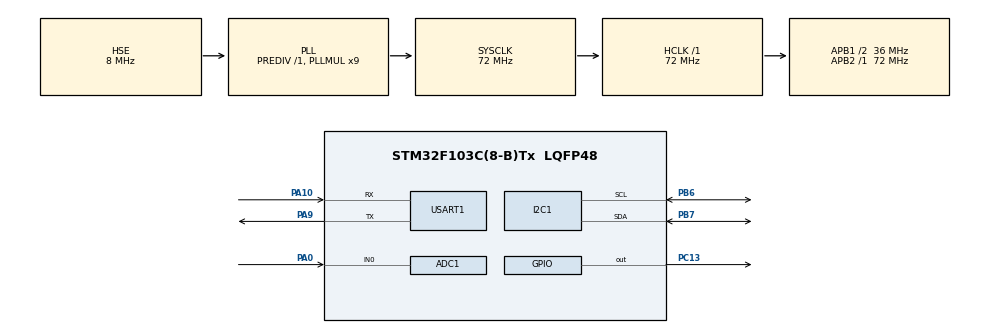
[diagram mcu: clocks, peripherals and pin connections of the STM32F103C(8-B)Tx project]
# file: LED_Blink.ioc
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ADC1.Channel-0\#ChannelRegularConversion=ADC_CHANNEL_0
ADC1.ContinuousConvMode=ENABLE
ADC1.NbrOfConversionFlag=1
ADC1.Rank-0\#ChannelRegularConversion=1
ADC1.SamplingTime-0\#ChannelRegularConversion=ADC_SAMPLETIME_1CYCLE_5
ADC1.master=1
Mcu.Family=STM32F1
Mcu.Name=STM32F103C(8-B)Tx
Mcu.Package=LQFP48
NVIC.PriorityGroup=NVIC_PRIORITYGROUP_4
PA0-WKUP.Signal=ADCx_IN0
PA10.Mode=Asynchronous
PA10.Signal=USART1_RX
PA13.Mode=Serial_Wire
PA13.Signal=SYS_JTMS-SWDIO
PA14.Mode=Serial_Wire
PA14.Signal=SYS_JTCK-SWCLK
PA9.Mode=Asynchronous
PA9.Signal=USART1_TX
PB6.Mode=I2C
PB6.Signal=I2C1_SCL
PB7.Mode=I2C
PB7.Signal=I2C1_SDA
PC13-TAMPER-RTC.Signal=GPIO_Output
PD0-OSC_IN.Mode=HSE-External-Oscillator
PD0-OSC_IN.Signal=RCC_OSC_IN
PD1-OSC_OUT.Mode=HSE-External-Oscillator
PD1-OSC_OUT.Signal=RCC_OSC_OUT
ProjectManager.HeapSize=0x200
ProjectManager.StackSize=0x400
ProjectManager.TargetToolchain=STM32CubeIDE
RCC.AHBFreq_Value=72000000
RCC.APB1CLKDivider=RCC_HCLK_DIV2
RCC.APB1Freq_Value=36000000
RCC.APB1TimFreq_Value=72000000
RCC.APB2Freq_Value=72000000
RCC.APB2TimFreq_Value=72000000
RCC.HCLKFreq_Value=72000000
RCC.PLLMUL=RCC_PLL_MUL9
RCC.PLLSourceVirtual=RCC_PLLSOURCE_HSE
RCC.SYSCLKFreq_VALUE=72000000
RCC.SYSCLKSource=RCC_SYSCLKSOURCE_PLLCLK
RCC.USBFreq_Value=72000000
SH.ADCx_IN0.0=ADC1_IN0,IN0
USART1.VirtualMode=VM_ASYNC
board=custom

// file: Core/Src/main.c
/* USER CODE BEGIN Header */
/**
  ******************************************************************************
  * @file           : main.c
  * @brief          : Main program body
  ******************************************************************************
  * @attention
  *
  * Copyright (c) 2026 STMicroelectronics.
  * All rights reserved.
  *
  * This software is licensed under terms that can be found in the LICENSE file
  * in the root directory of this software component.
  * If no LICENSE file comes with this software, it is provided AS-IS.
  *
  ******************************************************************************
  */
/* USER CODE END Header */
#include "main.h"

/* USER CODE BEGIN Includes */
#include <stdio.h>
#include <string.h>
/* USER CODE END Includes */

ADC_HandleTypeDef hadc1;

I2C_HandleTypeDef hi2c1;

UART_HandleTypeDef huart1;

/* USER CODE BEGIN PV */
uint8_t oled_addr=0x3C;
/* USER CODE END PV */

void SystemClock_Config(void);
static void MX_GPIO_Init(void);
static void MX_I2C1_Init(void);
static void MX_ADC1_Init(void);
static void MX_USART1_UART_Init(void);
/* USER CODE BEGIN PFP */
void OLED_Clear(void);
/* USER CODE END PFP */

/* USER CODE BEGIN 0 */

void OLED_WriteCmd(uint8_t cmd)
{
    HAL_I2C_Mem_Write(&hi2c1, oled_addr << 1, 0x00, 1, &cmd, 1, 100);
}

void OLED_WriteData(uint8_t *data, uint16_t len)
{
    HAL_I2C_Mem_Write(&hi2c1, oled_addr << 1, 0x40, 1, data, len, 100);
}

void OLED_Init(void)
{
    HAL_Delay(100);
    OLED_WriteCmd(0xAE);
    OLED_WriteCmd(0xD5);
    OLED_WriteCmd(0x80);
    OLED_WriteCmd(0xA8);
    OLED_WriteCmd(0x3F);
    OLED_WriteCmd(0xD3);
    OLED_WriteCmd(0x00);
    OLED_WriteCmd(0x40);
    OLED_WriteCmd(0x8D);
    OLED_WriteCmd(0x14);
    OLED_WriteCmd(0x20);
    OLED_WriteCmd(0x00);
    OLED_WriteCmd(0xA1);
    OLED_WriteCmd(0xC8);
    OLED_WriteCmd(0xDA);
    OLED_WriteCmd(0x12);
    OLED_WriteCmd(0x81);
    OLED_WriteCmd(0xCF);
    OLED_WriteCmd(0xD9);
    OLED_WriteCmd(0xF1);
    OLED_WriteCmd(0xDB);
    OLED_WriteCmd(0x40);
    OLED_WriteCmd(0xA4);
    OLED_WriteCmd(0xA6);
    OLED_WriteCmd(0x2E);
    OLED_WriteCmd(0xAF);
}
// 以上驅動
// 清除螢幕（全暗
void OLED_Clear(void)
{
    uint8_t zero[128] = {0};
    for (uint8_t page = 0; page < 8; page++)
    {
        OLED_WriteCmd(0xB0 + page);
        OLED_WriteCmd(0x00);
        OLED_WriteCmd(0x10);
        HAL_I2C_Mem_Write(&hi2c1, oled_addr << 1, 0x40, 1, zero, 128, 100);
    }
}
volatile uint8_t uart_tx_done = 1;
void HAL_UART_TxCpltCallback(UART_HandleTypeDef *huart)
{
	 if (huart->Instance == USART1)
	    {
	        uart_tx_done = 1;  // 傳送完成，標記為空閒
	    }
}

const uint8_t Font5x7[96][5] = {
    {0x00,0x00,0x00,0x00,0x00}, // 32 空格
    {0x00,0x00,0x5F,0x00,0x00}, // 33 !
    {0x00,0x07,0x00,0x07,0x00}, // 34 "
    {0x14,0x7F,0x14,0x7F,0x14}, // 35 #
    {0x24,0x2A,0x7F,0x2A,0x12}, // 36 $
    {0x23,0x13,0x08,0x64,0x62}, // 37 %
    {0x36,0x49,0x55,0x22,0x50}, // 38 &
    {0x00,0x05,0x03,0x00,0x00}, // 39 '
    {0x00,0x1C,0x22,0x41,0x00}, // 40 (
    {0x00,0x41,0x22,0x1C,0x00}, // 41 )
    {0x14,0x08,0x3E,0x08,0x14}, // 42 *
    {0x08,0x08,0x3E,0x08,0x08}, // 43 +
    {0x00,0x50,0x30,0x00,0x00}, // 44 ,
    {0x08,0x08,0x08,0x08,0x08}, // 45 -
    {0x00,0x60,0x60,0x00,0x00}, // 46 .
    {0x20,0x10,0x08,0x04,0x02}, // 47 /
    {0x3E,0x51,0x49,0x45,0x3E}, // 48 0
    {0x00,0x42,0x7F,0x40,0x00}, // 49 1
    {0x42,0x61,0x51,0x49,0x46}, // 50 2
    {0x21,0x41,0x45,0x4B,0x31}, // 51 3
    {0x18,0x14,0x12,0x7F,0x10}, // 52 4
    {0x27,0x45,0x45,0x45,0x39}, // 53 5
    {0x3C,0x4A,0x49,0x49,0x30}, // 54 6
    {0x01,0x71,0x09,0x05,0x03}, // 55 7
    {0x36,0x49,0x49,0x49,0x36}, // 56 8
    {0x06,0x49,0x49,0x29,0x1E}, // 57 9
    {0x00,0x36,0x36,0x00,0x00}, // 58 :
    {0x00,0x56,0x36,0x00,0x00}, // 59 ;
    {0x08,0x14,0x22,0x41,0x00}, // 60 <
    {0x14,0x14,0x14,0x14,0x14}, // 61 =
    {0x00,0x41,0x22,0x14,0x08}, // 62 >
    {0x02,0x01,0x51,0x09,0x06}, // 63 ?
    {0x32,0x49,0x79,0x41,0x3E}, // 64 @
    {0x7E,0x11,0x11,0x11,0x7E}, // 65 A
    {0x7F,0x49,0x49,0x49,0x36}, // 66 B
    {0x3E,0x41,0x41,0x41,0x22}, // 67 C
    {0x7F,0x41,0x41,0x22,0x1C}, // 68 D
    {0x7F,0x49,0x49,0x49,0x41}, // 69 E
    {0x7F,0x09,0x09,0x09,0x01}, // 70 F
    {0x3E,0x41,0x49,0x49,0x7A}, // 71 G
    {0x7F,0x08,0x08,0x08,0x7F}, // 72 H
    {0x00,0x41,0x7F,0x41,0x00}, // 73 I
    {0x20,0x40,0x41,0x3F,0x01}, // 74 J
    {0x7F,0x08,0x14,0x22,0x41}, // 75 K
    {0x7F,0x40,0x40,0x40,0x40}, // 76 L
    {0x7F,0x02,0x0C,0x02,0x7F}, // 77 M
    {0x7F,0x04,0x08,0x10,0x7F}, // 78 N
    {0x3E,0x41,0x41,0x41,0x3E}, // 79 O
    {0x7F,0x09,0x09,0x09,0x06}, // 80 P
    {0x3E,0x41,0x51,0x21,0x5E}, // 81 Q
    {0x7F,0x09,0x19,0x29,0x46}, // 82 R
    {0x46,0x49,0x49,0x49,0x31}, // 83 S
    {0x01,0x01,0x7F,0x01,0x01}, // 84 T
    {0x3F,0x40,0x40,0x40,0x3F}, // 85 U
    {0x1F,0x20,0x40,0x20,0x1F}, // 86 V
    {0x7F,0x20,0x18,0x20,0x7F}, // 87 W
    {0x63,0x14,0x08,0x14,0x63}, // 88 X
    {0x07,0x08,0x70,0x08,0x07}, // 89 Y
    {0x61,0x51,0x49,0x45,0x43}, // 90 Z
    {0x00,0x7F,0x41,0x41,0x00}, // 91 [
    {0x02,0x04,0x08,0x10,0x20}, // 92 \ (反斜線)
    {0x00,0x41,0x41,0x7F,0x00}, // 93 ]
    {0x04,0x02,0x01,0x02,0x04}, // 94 ^
    {0x40,0x40,0x40,0x40,0x40}, // 95 _
    {0x00,0x01,0x02,0x04,0x00}, // 96 `
    {0x20,0x54,0x54,0x54,0x78}, // 97 a
    {0x7F,0x48,0x44,0x44,0x38}, // 98 b
    {0x38,0x44,0x44,0x44,0x20}, // 99 c
    {0x38,0x44,0x44,0x48,0x7F}, // 100 d
    {0x38,0x54,0x54,0x54,0x18}, // 101 e
    {0x08,0x7E,0x09,0x01,0x02}, // 102 f
    {0x0C,0x52,0x52,0x52,0x3E}, // 103 g
    {0x7F,0x08,0x04,0x04,0x78}, // 104 h
    {0x00,0x44,0x7D,0x40,0x00}, // 105 i
    {0x20,0x40,0x44,0x3D,0x00}, // 106 j
    {0x7F,0x10,0x28,0x44,0x00}, // 107 k
    {0x00,0x41,0x7F,0x40,0x00}, // 108 l
    {0x7C,0x04,0x18,0x04,0x78}, // 109 m
    {0x7C,0x08,0x04,0x04,0x78}, // 110 n
    {0x38,0x44,0x44,0x44,0x38}, // 111 o
    {0x7C,0x14,0x14,0x14,0x08}, // 112 p
    {0x08,0x14,0x14,0x18,0x7C}, // 113 q
    {0x7C,0x08,0x04,0x04,0x08}, // 114 r
    {0x48,0x54,0x54,0x54,0x20}, // 115 s
    {0x04,0x3F,0x44,0x40,0x20}, // 116 t
    {0x3C,0x40,0x40,0x20,0x7C}, // 117 u
    {0x1C,0x20,0x40,0x20,0x1C}, // 118 v
    {0x3C,0x40,0x30,0x40,0x3C}, // 119 w
    {0x44,0x28,0x10,0x28,0x44}, // 120 x
    {0x0C,0x50,0x50,0x50,0x3C}, // 121 y
    {0x44,0x64,0x54,0x4C,0x44}, // 122 z
    {0x00,0x08,0x36,0x41,0x00}, // 123 {
    {0x00,0x00,0x7F,0x00,0x00}, // 124 |
    {0x00,0x41,0x36,0x08,0x00}, // 125 }
    {0x10,0x08,0x10,0x08,0x10}, // 126 ~
    {0x00,0x00,0x00,0x00,0x00}  // 127 DEL
};

// 顯示字串（使用 5x7 字型）
void OLED_WriteString(char *str)
{
    uint8_t x = 0;  // 水平位置（0~127）
    uint8_t y = 0;  // 頁面（0~7）

    while (*str)
    {
        // 只處理 ASCII 32~127
        if (*str < 32 || *str > 127)
        {
            str++;
            continue;
        }

        // 設定游標位置（頁面 y，列 x）
        OLED_WriteCmd(0xB0 + y);
        OLED_WriteCmd(0x00 + (x & 0x0F));
        OLED_WriteCmd(0x10 + ((x >> 4) & 0x0F));

        // 取得字型點陣（5 個位元組）
        const uint8_t *glyph = Font5x7[*str - 32];
        // 寫入顯存（連續 5 個位元組）
        HAL_I2C_Mem_Write(&hi2c1, oled_addr << 1, 0x40, 1, (uint8_t*)glyph, 5, 100);

        x += 6;  // 每個字元佔 6 像素寬（5 點陣 + 1 間隔）
        if (x > 128 - 6)  // 超過寬度就換行
        {
            x = 0;
            y++;
            if (y > 7) break;  // 超過頁面就停止
        }
        str++;
    }
}
uint32_t ADC_Read(void)
{
	 HAL_ADC_Start(&hadc1);   // ★ 啟動 ADC（即使連續模式，也要先啟動一次）
	    if (HAL_ADC_PollForConversion(&hadc1, 100) == HAL_OK)  // 等待轉換完成
	    {
	        return HAL_ADC_GetValue(&hadc1);
	    }
	    return 0;
}
void UART_SendString(char *str)
	    {
	if (uart_tx_done)  // 只有空閒時才送
	{
		uart_tx_done=0;
	    HAL_UART_Transmit_IT(&huart1, (uint8_t*)str, strlen(str));

	}
	    }
/* USER CODE END 0 */

int main(void)
{

  /* MCU Configuration--------------------------------------------------------*/

  /* Reset of all peripherals, Initializes the Flash interface and the Systick. */
  HAL_Init();

  /* Configure the system clock */
  SystemClock_Config();

  /* Initialize all configured peripherals */
  MX_GPIO_Init();
  MX_I2C1_Init();
  MX_ADC1_Init();
  MX_USART1_UART_Init();
  /* USER CODE BEGIN 2 */
  if (oled_addr != 0xFF)
  {
      OLED_Init();           // 初始化 OLED

      HAL_GPIO_WritePin(GPIOC, GPIO_PIN_13, GPIO_PIN_RESET);
        HAL_Delay(200);
        HAL_GPIO_WritePin(GPIOC, GPIO_PIN_13, GPIO_PIN_SET);
        HAL_Delay(200);
        HAL_GPIO_WritePin(GPIOC, GPIO_PIN_13, GPIO_PIN_RESET);
        HAL_Delay(200);
        HAL_GPIO_WritePin(GPIOC, GPIO_PIN_13, GPIO_PIN_SET);

        // ★ 清除後閃3下代表清除完成
        for (int i=0; i<3; i++)
        {
            HAL_GPIO_WritePin(GPIOC, GPIO_PIN_13, GPIO_PIN_RESET);
            HAL_Delay(200);
            HAL_GPIO_WritePin(GPIOC, GPIO_PIN_13, GPIO_PIN_SET);
            HAL_Delay(200);
        }

      OLED_Clear();          //清除螢幕全暗

  }
  /* USER CODE END 2 */

  /* Infinite loop */
  while (1)
  {

    /* USER CODE BEGIN 3 */

  uint32_t adc_val=ADC_Read();
  uint16_t voltage_mV =(uint16_t)(adc_val*3300.0f/4096.0f);
  char oled_buf[20];

  sprintf(oled_buf,"L:%4d %d.%02dV",(int)adc_val,voltage_mV/1000,(voltage_mV%1000)/10);

  OLED_Clear();
  OLED_WriteString(oled_buf);

  char uart_buf[50];
  sprintf(uart_buf,"Light: %d,Voltage:%d.%02dV\r\n",(int)adc_val,voltage_mV/1000,(voltage_mV%1000)/10);
      UART_SendString(uart_buf);

  	  HAL_Delay(500);
  }
  /* USER CODE END 3 */
}

void SystemClock_Config(void)
{
  RCC_OscInitTypeDef RCC_OscInitStruct = {0};
  RCC_ClkInitTypeDef RCC_ClkInitStruct = {0};
  RCC_PeriphCLKInitTypeDef PeriphClkInit = {0};

  /** Initializes the RCC Oscillators according to the specified parameters
  * in the RCC_OscInitTypeDef structure.
  */
  RCC_OscInitStruct.OscillatorType = RCC_OSCILLATORTYPE_HSE;
  RCC_OscInitStruct.HSEState = RCC_HSE_ON;
  RCC_OscInitStruct.HSEPredivValue = RCC_HSE_PREDIV_DIV1;
  RCC_OscInitStruct.HSIState = RCC_HSI_ON;
  RCC_OscInitStruct.PLL.PLLState = RCC_PLL_ON;
  RCC_OscInitStruct.PLL.PLLSource = RCC_PLLSOURCE_HSE;
  RCC_OscInitStruct.PLL.PLLMUL = RCC_PLL_MUL9;
  if (HAL_RCC_OscConfig(&RCC_OscInitStruct) != HAL_OK)
  {
    Error_Handler();
  }

  /** Initializes the CPU, AHB and APB buses clocks
  */
  RCC_ClkInitStruct.ClockType = RCC_CLOCKTYPE_HCLK|RCC_CLOCKTYPE_SYSCLK
                              |RCC_CLOCKTYPE_PCLK1|RCC_CLOCKTYPE_PCLK2;
  RCC_ClkInitStruct.SYSCLKSource = RCC_SYSCLKSOURCE_PLLCLK;
  RCC_ClkInitStruct.AHBCLKDivider = RCC_SYSCLK_DIV1;
  RCC_ClkInitStruct.APB1CLKDivider = RCC_HCLK_DIV2;
  RCC_ClkInitStruct.APB2CLKDivider = RCC_HCLK_DIV1;

  if (HAL_RCC_ClockConfig(&RCC_ClkInitStruct, FLASH_LATENCY_2) != HAL_OK)
  {
    Error_Handler();
  }
  PeriphClkInit.PeriphClockSelection = RCC_PERIPHCLK_ADC;
  PeriphClkInit.AdcClockSelection = RCC_ADCPCLK2_DIV2;
  if (HAL_RCCEx_PeriphCLKConfig(&PeriphClkInit) != HAL_OK)
  {
    Error_Handler();
  }
}

static void MX_ADC1_Init(void)
{

  ADC_ChannelConfTypeDef sConfig = {0};

  /** Common config
  */
  hadc1.Instance = ADC1;
  hadc1.Init.ScanConvMode = ADC_SCAN_DISABLE;
  hadc1.Init.ContinuousConvMode = ENABLE;
  hadc1.Init.DiscontinuousConvMode = DISABLE;
  hadc1.Init.ExternalTrigConv = ADC_SOFTWARE_START;
  hadc1.Init.DataAlign = ADC_DATAALIGN_RIGHT;
  hadc1.Init.NbrOfConversion = 1;
  if (HAL_ADC_Init(&hadc1) != HAL_OK)
  {
    Error_Handler();
  }

  /** Configure Regular Channel
  */
  sConfig.Channel = ADC_CHANNEL_0;
  sConfig.Rank = ADC_REGULAR_RANK_1;
  sConfig.SamplingTime = ADC_SAMPLETIME_1CYCLE_5;
  if (HAL_ADC_ConfigChannel(&hadc1, &sConfig) != HAL_OK)
  {
    Error_Handler();
  }

}

static void MX_I2C1_Init(void)
{

  hi2c1.Instance = I2C1;
  hi2c1.Init.ClockSpeed = 100000;
  hi2c1.Init.DutyCycle = I2C_DUTYCYCLE_2;
  hi2c1.Init.OwnAddress1 = 0;
  hi2c1.Init.AddressingMode = I2C_ADDRESSINGMODE_7BIT;
  hi2c1.Init.DualAddressMode = I2C_DUALADDRESS_DISABLE;
  hi2c1.Init.OwnAddress2 = 0;
  hi2c1.Init.GeneralCallMode = I2C_GENERALCALL_DISABLE;
  hi2c1.Init.NoStretchMode = I2C_NOSTRETCH_DISABLE;
  if (HAL_I2C_Init(&hi2c1) != HAL_OK)
  {
    Error_Handler();
  }

}

static void MX_USART1_UART_Init(void)
{

  huart1.Instance = USART1;
  huart1.Init.BaudRate = 115200;
  huart1.Init.WordLength = UART_WORDLENGTH_8B;
  huart1.Init.StopBits = UART_STOPBITS_1;
  huart1.Init.Parity = UART_PARITY_NONE;
  huart1.Init.Mode = UART_MODE_TX_RX;
  huart1.Init.HwFlowCtl = UART_HWCONTROL_NONE;
  huart1.Init.OverSampling = UART_OVERSAMPLING_16;
  if (HAL_UART_Init(&huart1) != HAL_OK)
  {
    Error_Handler();
  }

}

static void MX_GPIO_Init(void)
{
  GPIO_InitTypeDef GPIO_InitStruct = {0};

  /* GPIO Ports Clock Enable */
  __HAL_RCC_GPIOC_CLK_ENABLE();
  __HAL_RCC_GPIOD_CLK_ENABLE();
  __HAL_RCC_GPIOA_CLK_ENABLE();
  __HAL_RCC_GPIOB_CLK_ENABLE();

  /*Configure GPIO pin Output Level */
  HAL_GPIO_WritePin(GPIOC, GPIO_PIN_13, GPIO_PIN_RESET);

  /*Configure GPIO pin : PC13 */
  GPIO_InitStruct.Pin = GPIO_PIN_13;
  GPIO_InitStruct.Mode = GPIO_MODE_OUTPUT_PP;
  GPIO_InitStruct.Pull = GPIO_NOPULL;
  GPIO_InitStruct.Speed = GPIO_SPEED_FREQ_LOW;
  HAL_GPIO_Init(GPIOC, &GPIO_InitStruct);

}

void Error_Handler(void)
{
  __disable_irq();
  while (1)
  {
  }
}
